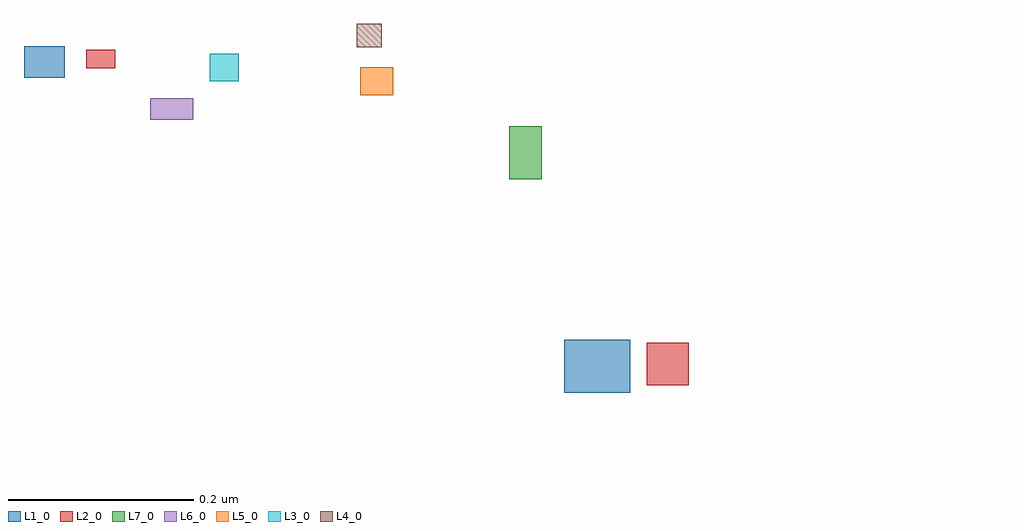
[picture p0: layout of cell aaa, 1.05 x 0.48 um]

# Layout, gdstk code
import gdstk
lib = gdstk.Library(unit=1e-6, precision=1e-09)
def R(c, l, rs):  # rectangles x0, y0, x1, y1
    for r in rs: c.add(gdstk.rectangle(r[:2], r[2:], *l))
def P(c, l, *ps):  # polygons
    for p in ps: c.add(gdstk.Polygon(p, *l))
L1_0 = (1, 0)
L2_0 = (2, 0)
L3_0 = (3, 0)
L4_0 = (4, 0)
L5_0 = (5, 0)
L6_0 = (6, 0)
L7_0 = (7, 0)

c_cc = lib.new_cell('cc')
R(c_cc, L4_0, [(-0.109,0.082,-0.082,0.107)])
R(c_cc, L5_0, [(-0.105,0.03,-0.07,0.06)])

c_bb = lib.new_cell('bb')
R(c_bb, L3_0, [(-0.156,0.061,-0.125,0.091)])
R(c_bb, L6_0, [(-0.22,0.02,-0.174,0.043)])

c_aa = lib.new_cell('aa')
R(c_aa, L1_0, [(-0.288,0.061,-0.244,0.095)])
R(c_aa, L2_0, [(-0.221,0.071,-0.19,0.091)])

c_dd = lib.new_cell('dd')
R(c_dd, L7_0, [(-0.054,0.047,-0.019,0.104)])
c_dd.add(gdstk.Reference(c_cc, (-0.109,0.107)))
c_dd.add(gdstk.Reference(c_bb, (-0.22,0.091)))
c_dd.add(gdstk.Reference(c_aa, (-0.288,0.095)))

parent = lib.new_cell('parent')
R(parent, L1_0, [(-0.283,-0.076,-0.212,-0.019)])
R(parent, L2_0, [(-0.194,-0.068,-0.149,-0.022)])
parent.add(gdstk.Reference(c_dd, (-0.288,0.107)))

aaa = lib.new_cell('aaa')
P(aaa, L2_0, [(-0.102,-0.049),(-0.102,-0.049),(-0.102,-0.049),(-0.102,-0.049)])
aaa.add(gdstk.Reference(parent, (-0.288,0.107)))

lib.write_gds('aaa.gds')
